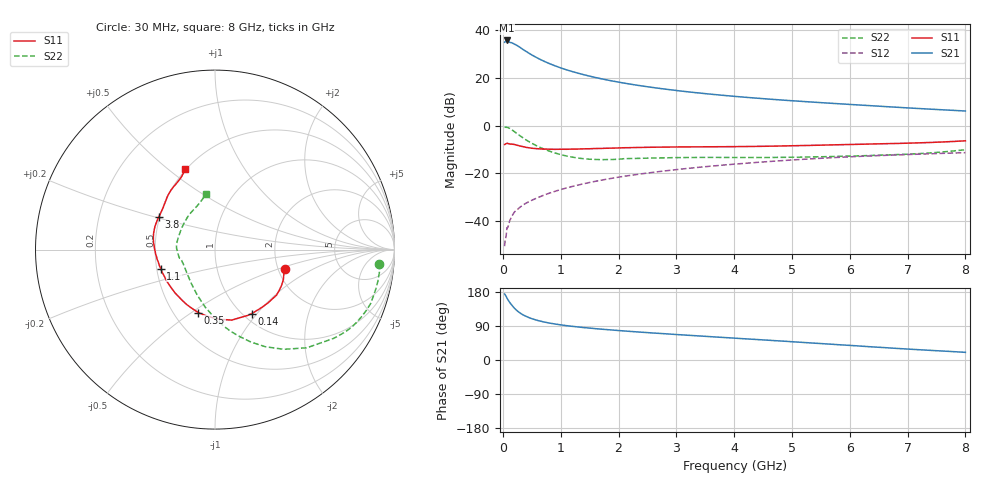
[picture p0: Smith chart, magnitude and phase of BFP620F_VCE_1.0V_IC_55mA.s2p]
! Infineon Technologies  Discrete & RF Semiconductors
! BFP620F
! VCE =  1.0 V,  IC =  55 mA
! Common Emitter S-Parameters:  Dec 2014
# GHz  S  MA  R  50
!  f  S11  S21  S12  S22
! GHz  MAG  ANG  MAG  ANG  MAG  ANG  MAG  ANG
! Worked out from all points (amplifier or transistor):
!   95 points, 30 MHz to 8 GHz, reference 50 ohm
!   highest |S21| = 35.6 dB at 70 MHz (marker M1)
!   |S21| within 3 dB of that: start of sweep to 303.7 MHz
!   unconditionally stable (mu >= 1): 1.77 GHz to end of sweep
!   at 300 MHz: K = 0.52, MSG = 33.4 dB, |S12| = -34.1 dB
!   at 3.3 GHz: K = 1.03, MAG = 14.7 dB, |S12| = -17.7 dB
!   at 8 GHz: K = 1.05, MAG = 7.3 dB, |S12| = -11.3 dB
!   S11 on the Smith chart (normalised r, x): 30 MHz: 2.17, -0.56; 140 MHz: 1.10, -0.94; 350 MHz: 0.66, -0.53; 1.1 GHz: 0.53, -0.12; 3.8 GHz: 0.49, +0.21; 8 GHz: 0.49, +0.58
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0.03  0.4038 -15.5  55.55 174.2  0.003 96.2  0.9197 -4.9
0.06  0.4211 -28.3  60.11 166.7  0.0054 82.2  0.9229 -13.5
0.07  0.424 -32.6  60.6 163.8  0.0073 77.3  0.9195 -16.6
0.09  0.4214 -40.7  59.12 158.4  0.0076 80.8  0.9083 -22.0
0.12  0.413 -53.2  55.37 151.6  0.0104 73.7  0.8736 -29.9
0.14  0.4111 -60.0  54.55 147.6  0.0116 73.6  0.84 -34.8
0.2  0.4037 -76.7  50.81 136.5  0.0156 69.1  0.7492 -46.9
0.25  0.3878 -87.5  47.22 129.4  0.0175 68.0  0.6749 -55.4
0.3  0.3736 -96.4  43.22 123.7  0.0198 65.4  0.6095 -62.6
0.35  0.3631 -104.9  39.1 119.0  0.0219 65.7  0.5531 -68.7
0.45  0.3443 -117.3  32.86 111.9  0.0256 65.7  0.4639 -79.1
0.6  0.3284 -132.6  25.9 104.4  0.031 65.6  0.3694 -91.8
0.8  0.3214 -146.4  19.97 97.6  0.0385 66.1  0.2936 -105.8
1.1  0.32 -160.6  14.73 90.7  0.0496 66.4  0.2314 -124.5
1.4  0.3267 -170.3  11.63 85.6  0.0608 65.9  0.2028 -141.0
1.9  0.3382 177.8  8.568 79.0  0.0796 64.2  0.1957 -162.4
2.7  0.3545 164.4  6.036 70.3  0.1091 60.0  0.2107 -177.9
3.8  0.3619 150.1  4.314 59.6  0.1489 52.9  0.2159 169.4
4.1  0.3644 146.7  4.01 56.7  0.1595 50.8  0.215 165.6
5.4  0.3879 134.8  3.084 44.3  0.2039 41.0  0.2219 145.3
6.7  0.4207 122.8  2.469 31.7  0.2409 30.5  0.2448 123.9
8  0.4813 110.2  2.023 20.2  0.2714 20.4  0.3127 99.2
